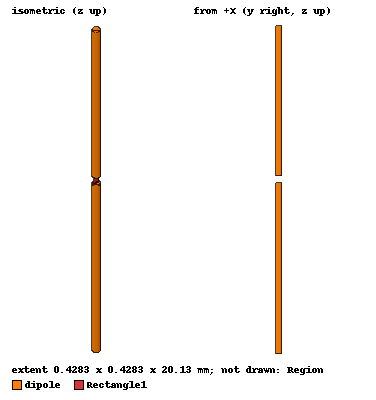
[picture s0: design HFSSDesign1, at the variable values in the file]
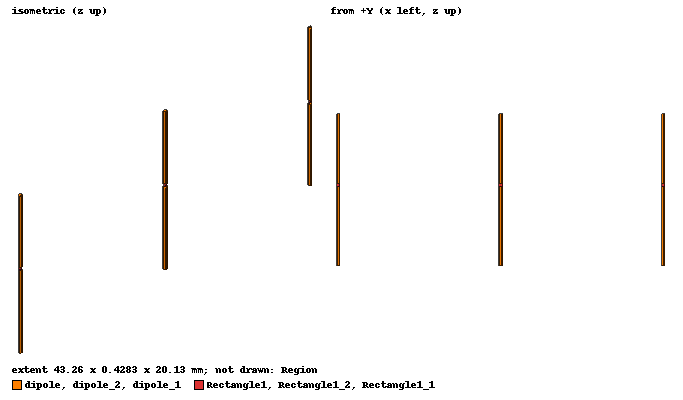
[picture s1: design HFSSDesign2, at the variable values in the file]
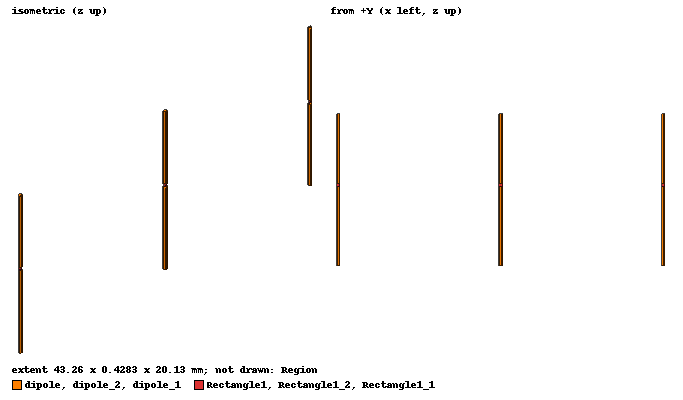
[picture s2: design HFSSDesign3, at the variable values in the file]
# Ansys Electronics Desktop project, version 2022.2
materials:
  vacuum: permittivity=1
  copper: permeability=0.999991 conductivity=58000000

design HFSSDesign1 (HFSS, DrivenModal, model units mm)
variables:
  f0 = 7GHz
  la_0 = c0/f0
  r_dipole = la_0/(2*100)
  l_gap = 2*r_dipole
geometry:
  dipole [copper] = cylinder(axis=Z, base_centre=(0mm, 0mm, -la_0/4), radius=r_dipole, height=0.47*la_0)
  Cylinder2 = cylinder(axis=Z, base_centre=(0mm, 0mm, -l_gap/2), radius=r_dipole, height=l_gap)
  dipole.subtract(Cylinder2)
  Rectangle1 = rectangle(corner=(-r_dipole, 0mm, -r_dipole), z_size=2*r_dipole, x_size=2*r_dipole)
  Region [vacuum] = region(percentage_offset: +X=2000, -X=2000, +Y=2000, -Y=2000, +Z=100, -Z=100)
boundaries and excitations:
  Rad1: Radiation Faces=Region.face(all 6)
  1: Lumped Port Objects=Rectangle1 Modes{Mode1{IntLine{(0, 0, -0.21413747) -> (0, 0, 0.21413747)} CharImp=Zpi RenormImp=50ohm}} Impedance=50ohm
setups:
  Setup1: HfssDriven Frequency=7GHz MaxDeltaS=0.001 MaximumPasses=20 MinimumPasses=5 MinimumConvergedPasses=3 PercentRefinement=10 BasisOrder=1 PortAccuracy=2 DrivenSolverType="Direct Solver"
    sweep Sweep: 5GHz to 9GHz, 401 points; Type=Fast SaveFields
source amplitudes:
  1:1: 1W 0deg
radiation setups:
  Infinite Sphere1: Infinite Sphere Theta=-180deg..180deg step 2deg Phi=-180deg..180deg step 2deg
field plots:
  Mag_E1: E Field in Region on Setup1 : Sweep at Freq=7GHz Phase=0deg
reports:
  Z Parameter Plot 1: re(Z(1,1)), im(Z(1,1)) vs Freq on Setup1 : Sweep; markers MX1 at x=7e+09
  Directivity Plot 1: dB(DirTotal) vs Phi, Theta on Setup1 : LastAdaptive, Infinite Sphere1 [Freq=9GHz]
  S Parameter Plot 1: dB(S(1,1)) vs Freq on Setup1 : Sweep; markers m1 at 7GHz, m2 at 6.93GHz
  Directivity Plot 2: dB(DirTotal) vs Phi, Theta on Setup1 : LastAdaptive, Infinite Sphere1 [Freq=7GHz]
  Realized Gain Plot 1: dB(RealizedGainTotal) vs Phi, Theta on Setup1 : LastAdaptive, Infinite Sphere1 [Freq=7GHz]
  Realized Gain Plot 2: dB(RealizedGainTheta) vs Theta on Setup1 : LastAdaptive, Infinite Sphere1 [Phi=0deg Freq=7GHz]
  Realized Gain Plot 3: RealizedGainTotal vs Phi on Setup1 : LastAdaptive, Infinite Sphere1 [Theta=90deg Freq=7GHz]

design HFSSDesign2 (HFSS, DrivenModal, model units mm)
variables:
  f0 = 7GHz
  la_0 = c0/f0
  r_dipole = la_0/(2*100)
  l_gap = 2*r_dipole
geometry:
  dipole [copper] = cylinder(axis=Z, base_centre=(0mm, 0mm, -la_0/4), radius=r_dipole, height=0.47*la_0)
  Cylinder2 = cylinder(axis=Z, base_centre=(0mm, 0mm, -l_gap/2), radius=r_dipole, height=l_gap)
  dipole.subtract(Cylinder2)
  Rectangle1 = rectangle(corner=(-r_dipole, 0mm, -r_dipole), z_size=2*r_dipole, x_size=2*r_dipole)
  Region [vacuum] = region(percentage_offset: +X=40, -X=40, +Y=10000, -Y=10000, +Z=100, -Z=100)
  dipole_1, dipole_2 [copper] = dipole.duplicate_along_line(step=(la_0/2, 0mm, 0mm), total=3)
  Rectangle1_1, Rectangle1_2 = Rectangle1.duplicate_along_line(step=(la_0/2, 0mm, 0mm), total=3)
  [dipole, dipole_1, dipole_2, Rectangle1, Rectangle1_1, Rectangle1_2].move(-la_0/2, 0mm, 0mm)
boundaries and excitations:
  Rad1: Radiation Faces=Region.face(all 6)
  1: Lumped Port Objects=Rectangle1 Modes{Mode1{IntLine{(-21.413747, 0, -0.21413747) -> (-21.413747, 0, 0.21413747)} CharImp=Zpi RenormImp=50ohm}} Impedance=50ohm
  2: Lumped Port Objects=Rectangle1_1 Modes{Mode1{IntLine{(0, 0, -0.21413747) -> (0, 0, 0.21413747)} CharImp=Zpi RenormImp=50ohm}} Impedance=50ohm
  3: Lumped Port Objects=Rectangle1_2 Modes{Mode1{IntLine{(21.413747, 0, -0.21413747) -> (21.413747, 0, 0.21413747)} CharImp=Zpi RenormImp=50ohm}} Impedance=50ohm
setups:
  Setup1: HfssDriven Frequency=7GHz MaxDeltaS=0.001 MaximumPasses=20 MinimumPasses=5 MinimumConvergedPasses=3 PercentRefinement=10 BasisOrder=1 PortAccuracy=2 DrivenSolverType="Direct Solver"
    sweep Sweep: 5GHz to 9GHz, 401 points; Type=Fast SaveFields
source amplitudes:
  1:1, 2:1, 3:1: 1W 0deg
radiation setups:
  Infinite Sphere1: Infinite Sphere Theta=-180deg..180deg step 2deg Phi=-180deg..180deg step 2deg
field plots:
  Mag_E1: E Field in Region on Setup1 : Sweep at Freq=7GHz Phase=0deg
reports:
  Realized Gain Plot 1: dB(RealizedGainTotal) vs Theta on Setup1 : Sweep, Infinite Sphere1 [Phi=all Freq=7GHz]; markers m1 at 90deg
  Z Parameter Plot 1: re(Z(1,1)), im(Z(1,1)) vs Freq on Setup1 : Sweep; markers MX1 at x=7e+09
  Directivity Plot 1: dB(DirTotal) vs Phi, Theta on Setup1 : LastAdaptive, Infinite Sphere1 [Freq=9GHz]
  S Parameter Plot 1: dB(S(1,1)) vs Freq on Setup1 : Sweep; markers m1 at 7GHz, m2 at 6.93GHz
  Directivity Plot 2: dB(DirTotal) vs Phi, Theta on Setup1 : LastAdaptive, Infinite Sphere1 [Freq=7GHz]
  S Parameter Plot 2: dB(S(2,1)), dB(S(3,1)) vs Freq on Setup1 : Sweep; markers MX1 at x=7e+09
  Realized Gain Plot 2: dB(RealizedGainTotal) vs Phi, Theta on Setup1 : LastAdaptive, Infinite Sphere1 [Freq=7GHz]
  Gain Plot 1: GainTotal vs Phi on Setup1 : LastAdaptive, Infinite Sphere1 [Theta=90deg Freq=7GHz]

design HFSSDesign3 (HFSS, DrivenModal, model units mm)
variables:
  f0 = 7GHz
  la_0 = c0/f0
  r_dipole = la_0/(2*100)
  l_gap = 2*r_dipole
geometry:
  dipole [copper] = cylinder(axis=Z, base_centre=(0mm, 0mm, -la_0/4), radius=r_dipole, height=0.47*la_0)
  Cylinder2 = cylinder(axis=Z, base_centre=(0mm, 0mm, -l_gap/2), radius=r_dipole, height=l_gap)
  dipole.subtract(Cylinder2)
  Rectangle1 = rectangle(corner=(-r_dipole, 0mm, -r_dipole), z_size=2*r_dipole, x_size=2*r_dipole)
  Region [vacuum] = region(percentage_offset: +X=40, -X=40, +Y=10000, -Y=10000, +Z=100, -Z=100)
  dipole_1, dipole_2 [copper] = dipole.duplicate_along_line(step=(la_0/2, 0mm, 0mm), total=3)
  Rectangle1_1, Rectangle1_2 = Rectangle1.duplicate_along_line(step=(la_0/2, 0mm, 0mm), total=3)
  [dipole, dipole_1, dipole_2, Rectangle1, Rectangle1_1, Rectangle1_2].move(-la_0/2, 0mm, 0mm)
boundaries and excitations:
  Rad1: Radiation Faces=Region.face(all 6)
  1: Lumped Port Objects=Rectangle1 Modes{Mode1{IntLine{(-21.413747, 0, -0.21413747) -> (-21.413747, 0, 0.21413747)} CharImp=Zpi RenormImp=50ohm}} Impedance=50ohm
  2: Lumped Port Objects=Rectangle1_1 Modes{Mode1{IntLine{(0, 0, -0.21413747) -> (0, 0, 0.21413747)} CharImp=Zpi RenormImp=50ohm}} Impedance=50ohm
  3: Lumped Port Objects=Rectangle1_2 Modes{Mode1{IntLine{(21.413747, 0, -0.21413747) -> (21.413747, 0, 0.21413747)} CharImp=Zpi RenormImp=50ohm}} Impedance=50ohm
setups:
  Setup1: HfssDriven Frequency=7GHz MaxDeltaS=0.001 MaximumPasses=20 MinimumPasses=5 MinimumConvergedPasses=3 PercentRefinement=10 BasisOrder=1 PortAccuracy=2 DrivenSolverType="Direct Solver"
    sweep Sweep: 5GHz to 9GHz, 401 points; Type=Fast SaveFields
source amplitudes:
  1:1: 1W 0deg
  2:1: 1W 270deg
  3:1: 1W 540deg
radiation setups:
  Infinite Sphere1: Infinite Sphere Theta=-180deg..180deg step 2deg Phi=-180deg..180deg step 2deg
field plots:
  Mag_E1: E Field in Region on Setup1 : Sweep at Freq=7GHz Phase=0deg
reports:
  Realized Gain Plot 1: dB(RealizedGainTotal) vs Theta on Setup1 : Sweep, Infinite Sphere1 [Phi=all Freq=7GHz]; markers m1 at 90deg
  Z Parameter Plot 1: re(Z(1,1)), im(Z(1,1)) vs Freq on Setup1 : Sweep; markers MX1 at x=7e+09
  Directivity Plot 1: dB(DirTotal) vs Phi, Theta on Setup1 : LastAdaptive, Infinite Sphere1 [Freq=9GHz]
  S Parameter Plot 1: dB(S(1,1)) vs Freq on Setup1 : Sweep; markers m1 at 7GHz, m2 at 6.93GHz
  Directivity Plot 2: dB(DirTotal) vs Phi, Theta on Setup1 : LastAdaptive, Infinite Sphere1 [Freq=7GHz]
  S Parameter Plot 2: dB(S(2,1)), dB(S(3,1)) vs Freq on Setup1 : Sweep; markers MX1 at x=7e+09
  Realized Gain Plot 2: dB(RealizedGainTotal) vs Phi, Theta on Setup1 : LastAdaptive, Infinite Sphere1 [Freq=7GHz]
  Gain Plot 1: GainTotal vs Phi on Setup1 : LastAdaptive, Infinite Sphere1 [Theta=90deg Freq=7GHz]
  Gain Plot 2: dB(GainTotal) vs Phi, Theta on Setup1 : LastAdaptive, Infinite Sphere1 [Freq=7GHz]
